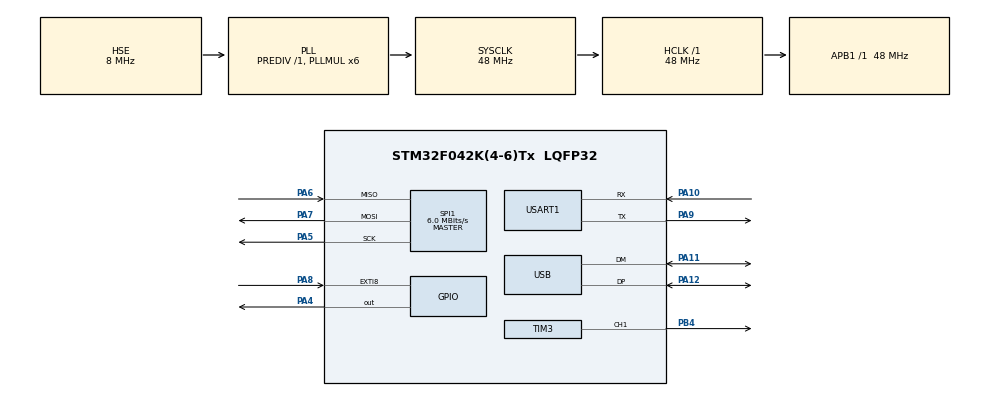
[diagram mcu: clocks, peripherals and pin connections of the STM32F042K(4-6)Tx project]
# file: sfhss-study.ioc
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Dma.Request0=SPI1_TX
Dma.Request1=SPI1_RX
Dma.SPI1_RX.1.Direction=DMA_PERIPH_TO_MEMORY
Dma.SPI1_RX.1.Instance=DMA1_Channel2
Dma.SPI1_RX.1.MemDataAlignment=DMA_MDATAALIGN_BYTE
Dma.SPI1_RX.1.MemInc=DMA_MINC_ENABLE
Dma.SPI1_RX.1.Mode=DMA_NORMAL
Dma.SPI1_RX.1.PeriphDataAlignment=DMA_PDATAALIGN_BYTE
Dma.SPI1_RX.1.PeriphInc=DMA_PINC_DISABLE
Dma.SPI1_RX.1.Priority=DMA_PRIORITY_LOW
Dma.SPI1_TX.0.Direction=DMA_MEMORY_TO_PERIPH
Dma.SPI1_TX.0.Instance=DMA1_Channel3
Dma.SPI1_TX.0.MemDataAlignment=DMA_MDATAALIGN_BYTE
Dma.SPI1_TX.0.MemInc=DMA_MINC_ENABLE
Dma.SPI1_TX.0.Mode=DMA_NORMAL
Dma.SPI1_TX.0.PeriphDataAlignment=DMA_PDATAALIGN_BYTE
Dma.SPI1_TX.0.PeriphInc=DMA_PINC_DISABLE
Dma.SPI1_TX.0.Priority=DMA_PRIORITY_LOW
Mcu.Family=STM32F0
Mcu.Name=STM32F042K(4-6)Tx
Mcu.Package=LQFP32
NVIC.DMA1_Channel2_3_IRQn=true\:0\:0\:false\:false\:true\:true
NVIC.EXTI4_15_IRQn=true\:0\:0\:false\:false\:true\:true
NVIC.USB_IRQn=true\:0\:0\:false\:false\:true\:true
PA10.Mode=Asynchronous
PA10.Signal=USART1_RX
PA11.Mode=Device
PA11.Signal=USB_DM
PA12.Mode=Device
PA12.Signal=USB_DP
PA13.Mode=Serial_Wire
PA13.Signal=SYS_SWDIO
PA14.Mode=Serial_Wire
PA14.Signal=SYS_SWCLK
PA4.PinState=GPIO_PIN_SET
PA4.Signal=GPIO_Output
PA5.Mode=Full_Duplex_Master
PA5.Signal=SPI1_SCK
PA6.GPIO_Mode=GPIO_MODE_AF_PP
PA6.GPIO_PuPd=GPIO_PULLDOWN
PA6.Mode=Full_Duplex_Master
PA6.Signal=SPI1_MISO
PA7.Mode=Full_Duplex_Master
PA7.Signal=SPI1_MOSI
PA8.Signal=GPXTI8
PA9.Mode=Asynchronous
PA9.Signal=USART1_TX
PB4.Signal=S_TIM3_CH1
PF0-OSC_IN.Mode=HSE-External-Oscillator
PF0-OSC_IN.Signal=RCC_OSC_IN
PF1-OSC_OUT.Mode=HSE-External-Oscillator
PF1-OSC_OUT.Signal=RCC_OSC_OUT
ProjectManager.HeapSize=0x200
ProjectManager.StackSize=0x400
ProjectManager.TargetToolchain=Makefile
RCC.AHBFreq_Value=48000000
RCC.APB1Freq_Value=48000000
RCC.APB1TimFreq_Value=48000000
RCC.HCLKFreq_Value=48000000
RCC.HSIState=RCC_HSI_ON
RCC.PLLMUL=RCC_PLL_MUL6
RCC.SYSCLKFreq_VALUE=48000000
RCC.SYSCLKSource=RCC_SYSCLKSOURCE_PLLCLK
RCC.USBClockSelection=RCC_USBCLKSOURCE_PLL
SH.S_TIM3_CH1.0=TIM3_CH1,PWM Generation1 CH1
SPI1.BaudRatePrescaler=SPI_BAUDRATEPRESCALER_8
SPI1.CLKPhase=SPI_PHASE_1EDGE
SPI1.CalculateBaudRate=6.0 MBits/s
SPI1.DataSize=SPI_DATASIZE_8BIT
SPI1.Direction=SPI_DIRECTION_2LINES
SPI1.Mode=SPI_MODE_MASTER
SPI1.NSSPMode=SPI_NSS_PULSE_DISABLE
SPI1.VirtualType=VM_MASTER
TIM2.AutoReloadPreload=TIM_AUTORELOAD_PRELOAD_ENABLE
TIM2.Period=4294967295
TIM2.Prescaler=48
TIM3.AutoReloadPreload=TIM_AUTORELOAD_PRELOAD_ENABLE
TIM3.Channel-PWM\ Generation1\ CH1=TIM_CHANNEL_1
TIM3.Period=4095
TIM3.Prescaler=128
TIM3.Pulse-PWM\ Generation1\ CH1=0
USART1.VirtualMode-Asynchronous=VM_ASYNC
USB_DEVICE.CLASS_NAME_FS=CUSTOMHID
USB_DEVICE.CONFIGURATION_STRING_CUSTOMHID_FS=S-FHSS Joystick
USB_DEVICE.INTERFACE_STRING_CUSTOMHID_FS=S-FHSS Joystick interface
USB_DEVICE.MANUFACTURER_STRING=opiopan@gmail.com
USB_DEVICE.PID_CUSTOMHID_FS=22353
USB_DEVICE.PRODUCT_STRING_CUSTOMHID_FS=S-FHSS HID device
USB_DEVICE.SERIALNUMBER_STRING_CUSTOMHID_FS=00000000001B
USB_DEVICE.USBD_CUSTOMHID_OUTREPORT_BUF_SIZE=9
USB_DEVICE.USBD_CUSTOM_HID_REPORT_DESC_SIZE=41
USB_DEVICE.USBD_SELF_POWERED=0
USB_DEVICE.VirtualMode=CustomHid
USB_DEVICE.VirtualModeFS=Custom_Hid_FS
VP_TIM2_VS_ClockSourceINT.Mode=Internal
VP_TIM3_VS_ClockSourceINT.Mode=Internal
VP_USB_DEVICE_VS_USB_DEVICE_CUSTOM_HID_FS.Mode=CUSTOM_HID_FS
board=sfhss-study

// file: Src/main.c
/* USER CODE BEGIN Header */
/**
  ******************************************************************************
  * @file           : main.c
  * @brief          : Main program body
  ******************************************************************************
  * This notice applies to any and all portions of this file
  * that are not between comment pairs USER CODE BEGIN and
  * USER CODE END. Other portions of this file, whether
  * inserted by the user or by software development tools
  * are owned by their respective copyright owners.
  *
  * Copyright (c) 2019 STMicroelectronics International N.V.
  * All rights reserved.
  *
  * Redistribution and use in source and binary forms, with or without
  * modification, are permitted, provided that the following conditions are met:
  *
  * 1. Redistribution of source code must retain the above copyright notice,
  *    this list of conditions and the following disclaimer.
  * 2. Redistributions in binary form must reproduce the above copyright notice,
  *    this list of conditions and the following disclaimer in the documentation
  *    and/or other materials provided with the distribution.
  * 3. Neither the name of STMicroelectronics nor the names of other
  *    contributors to this software may be used to endorse or promote products
  *    derived from this software without specific written permission.
  * 4. This software, including modifications and/or derivative works of this
  *    software, must execute solely and exclusively on microcontroller or
  *    microprocessor devices manufactured by or for STMicroelectronics.
  * 5. Redistribution and use of this software other than as permitted under
  *    this license is void and will automatically terminate your rights under
  *    this license.
  *
  * THIS SOFTWARE IS PROVIDED BY STMICROELECTRONICS AND CONTRIBUTORS "AS IS"
  * AND ANY EXPRESS, IMPLIED OR STATUTORY WARRANTIES, INCLUDING, BUT NOT
  * LIMITED TO, THE IMPLIED WARRANTIES OF MERCHANTABILITY, FITNESS FOR A
  * PARTICULAR PURPOSE AND NON-INFRINGEMENT OF THIRD PARTY INTELLECTUAL PROPERTY
  * RIGHTS ARE DISCLAIMED TO THE FULLEST EXTENT PERMITTED BY LAW. IN NO EVENT
  * SHALL STMICROELECTRONICS OR CONTRIBUTORS BE LIABLE FOR ANY DIRECT, INDIRECT,
  * INCIDENTAL, SPECIAL, EXEMPLARY, OR CONSEQUENTIAL DAMAGES (INCLUDING, BUT NOT
  * LIMITED TO, PROCUREMENT OF SUBSTITUTE GOODS OR SERVICES; LOSS OF USE, DATA,
  * OR PROFITS; OR BUSINESS INTERRUPTION) HOWEVER CAUSED AND ON ANY THEORY OF
  * LIABILITY, WHETHER IN CONTRACT, STRICT LIABILITY, OR TORT (INCLUDING
  * NEGLIGENCE OR OTHERWISE) ARISING IN ANY WAY OUT OF THE USE OF THIS SOFTWARE,
  * EVEN IF ADVISED OF THE POSSIBILITY OF SUCH DAMAGE.
  *
  ******************************************************************************
  */
/* USER CODE END Header */

#include "main.h"
#include "usb_device.h"

/* USER CODE BEGIN Includes */
#include <SEGGER_RTT.h>
#include <usbd_custom_hid_if.h>
#include <olog.h>
#include "cc2500.h"
#include "sfhss.h"
/* USER CODE END Includes */

SPI_HandleTypeDef hspi1;
DMA_HandleTypeDef hdma_spi1_tx;
DMA_HandleTypeDef hdma_spi1_rx;

TIM_HandleTypeDef htim2;
TIM_HandleTypeDef htim3;

UART_HandleTypeDef huart1;

/* USER CODE BEGIN PV */
/* Private variables ---------------------------------------------------------*/

/* USER CODE END PV */

void SystemClock_Config(void);
static void MX_GPIO_Init(void);
static void MX_DMA_Init(void);
static void MX_SPI1_Init(void);
static void MX_USART1_UART_Init(void);
static void MX_TIM2_Init(void);
static void MX_TIM3_Init(void);
/* USER CODE BEGIN PFP */
/* Private function prototypes -----------------------------------------------*/

/* USER CODE END PFP */

/* USER CODE BEGIN 0 */
CC2500CTX cc2500ctx;
SFHSSCTX sfhss;

volatile char debug_string[10] = "hogehoge";

void HAL_GPIO_EXTI_Callback(uint16_t GPIO_Pin)
{
  if (GPIO_Pin == GPIO_PIN_8){
      SFHSS_SET_RECEIVED(&sfhss);
  }
}

void HAL_SPI_TxRxCpltCallback(SPI_HandleTypeDef *hspi)
{

}

/* USER CODE END 0 */

int main(void)
{
  /* USER CODE BEGIN 1 */
    olog_init();
    olog_printf("\033[0m\n\n----------------------------------------------------\n");
    olog_printf("sfhss-study\n");
    olog_printf("     copyright: opiopan@gmail.com\n");
    olog_printf("     repository: https://github.com/opiopan/sfhss-study\n");
    olog_printf("----------------------------------------------------\n");

  /* USER CODE END 1 */

  /* MCU Configuration--------------------------------------------------------*/

  /* Reset of all peripherals, Initializes the Flash interface and the Systick. */
  HAL_Init();

  /* Configure the system clock */
  SystemClock_Config();

  /* Initialize all configured peripherals */
  MX_GPIO_Init();
  MX_DMA_Init();
  MX_SPI1_Init();
  MX_USB_DEVICE_Init();
  MX_USART1_UART_Init();
  MX_TIM2_Init();
  MX_TIM3_Init();
  /* USER CODE BEGIN 2 */
    HAL_Delay(100);
    HAL_TIM_Base_Start(&htim2);
    HAL_TIM_PWM_Start(&htim3, TIM_CHANNEL_1);
    cc2500_init(&cc2500ctx, GPIOA, GPIO_PIN_4, &hspi1);
    sfhss_init(&sfhss, &cc2500ctx, &htim2);
    sfhss_calibrate(&sfhss);
    HAL_GPIO_WritePin(GPIOB, GPIO_PIN_4, GPIO_PIN_SET);

    OLOG_LOGI("SFHSS: initialization finish");
  /* USER CODE END 2 */

  /* Infinite loop */
  /* USER CODE BEGIN WHILE */
#define CONVDATA(val) ((((uint32_t)(val) - 970) * 255) / 1100)
  struct {
      uint8_t id;
      uint8_t axis[8];
  } report;
  int last = sfhss.phase;
  int bincount = 0;
  int concount = 0;
  while (1){
      sfhss_schedule(&sfhss);

      if (last != sfhss.phase){
        last = sfhss.phase;
        if (last == SFHSS_START_BINDING){
          if (bincount > 0){
            OLOG_LOGW("SFHSS: loast radio or interference while binding");
            __HAL_TIM_SET_COMPARE(&htim3, TIM_CHANNEL_1, 0);
          }
          bincount++;
        }
        if (last == SFHSS_BINDING){
          OLOG_LOGI("SFHSS: binding start");
          __HAL_TIM_SET_COMPARE(&htim3, TIM_CHANNEL_1, 4095);
        }else if (last == SFHSS_CONNECTING1){
          if (concount == 0){
            OLOG_LOGI("SFHSS: binded");
          }else{
            OLOG_LOGW("SFHSS: disconnected");
          }
          concount++;
          __HAL_TIM_SET_COMPARE(&htim3, TIM_CHANNEL_1, 0);
        }else if (last == SFHSS_CONNECTED){
          OLOG_LOGI("SFHSS: connected");
        }
      }
      if (last == SFHSS_CONNECTED && SFHSS_ISDIRTY(&sfhss)){
          int val = sfhss.data[5];
          val -= 1024;
          val *= 4;
          val = MAX(val, 0);
          val = MIN(val, 4095);
          __HAL_TIM_SET_COMPARE(&htim3, TIM_CHANNEL_1, 4095 - val);

          report.id = 1;
          report.axis[0] = CONVDATA(sfhss.data[0]);
          report.axis[1] = CONVDATA(sfhss.data[1]);
          report.axis[2] = CONVDATA(sfhss.data[2]);
          report.axis[3] = CONVDATA(sfhss.data[3]);
          report.axis[4] = CONVDATA(sfhss.data[4]);
          report.axis[5] = CONVDATA(sfhss.data[5]);
          report.axis[6] = CONVDATA(sfhss.data[6]);
          report.axis[7] = CONVDATA(sfhss.data[7]);
          USBD_CUSTOM_HID_SendReport_FS((uint8_t*)&report, sizeof(report));

          SFHSS_RESET_DIRTY(&sfhss);
      }
  }
    /* USER CODE END WHILE */

}

void SystemClock_Config(void)
{
  RCC_OscInitTypeDef RCC_OscInitStruct = {0};
  RCC_ClkInitTypeDef RCC_ClkInitStruct = {0};
  RCC_PeriphCLKInitTypeDef PeriphClkInit = {0};

  /**Initializes the CPU, AHB and APB busses clocks
  */
  RCC_OscInitStruct.OscillatorType = RCC_OSCILLATORTYPE_HSE;
  RCC_OscInitStruct.HSEState = RCC_HSE_ON;
  RCC_OscInitStruct.PLL.PLLState = RCC_PLL_ON;
  RCC_OscInitStruct.PLL.PLLSource = RCC_PLLSOURCE_HSE;
  RCC_OscInitStruct.PLL.PLLMUL = RCC_PLL_MUL6;
  RCC_OscInitStruct.PLL.PREDIV = RCC_PREDIV_DIV1;
  if (HAL_RCC_OscConfig(&RCC_OscInitStruct) != HAL_OK)
  {
    Error_Handler();
  }
  /**Initializes the CPU, AHB and APB busses clocks
  */
  RCC_ClkInitStruct.ClockType = RCC_CLOCKTYPE_HCLK|RCC_CLOCKTYPE_SYSCLK
                              |RCC_CLOCKTYPE_PCLK1;
  RCC_ClkInitStruct.SYSCLKSource = RCC_SYSCLKSOURCE_PLLCLK;
  RCC_ClkInitStruct.AHBCLKDivider = RCC_SYSCLK_DIV1;
  RCC_ClkInitStruct.APB1CLKDivider = RCC_HCLK_DIV1;

  if (HAL_RCC_ClockConfig(&RCC_ClkInitStruct, FLASH_LATENCY_1) != HAL_OK)
  {
    Error_Handler();
  }
  PeriphClkInit.PeriphClockSelection = RCC_PERIPHCLK_USB|RCC_PERIPHCLK_USART1;
  PeriphClkInit.Usart1ClockSelection = RCC_USART1CLKSOURCE_PCLK1;
  PeriphClkInit.UsbClockSelection = RCC_USBCLKSOURCE_PLL;

  if (HAL_RCCEx_PeriphCLKConfig(&PeriphClkInit) != HAL_OK)
  {
    Error_Handler();
  }
}

static void MX_SPI1_Init(void)
{

  /* SPI1 parameter configuration*/
  hspi1.Instance = SPI1;
  hspi1.Init.Mode = SPI_MODE_MASTER;
  hspi1.Init.Direction = SPI_DIRECTION_2LINES;
  hspi1.Init.DataSize = SPI_DATASIZE_8BIT;
  hspi1.Init.CLKPolarity = SPI_POLARITY_LOW;
  hspi1.Init.CLKPhase = SPI_PHASE_1EDGE;
  hspi1.Init.NSS = SPI_NSS_SOFT;
  hspi1.Init.BaudRatePrescaler = SPI_BAUDRATEPRESCALER_8;
  hspi1.Init.FirstBit = SPI_FIRSTBIT_MSB;
  hspi1.Init.TIMode = SPI_TIMODE_DISABLE;
  hspi1.Init.CRCCalculation = SPI_CRCCALCULATION_DISABLE;
  hspi1.Init.CRCPolynomial = 7;
  hspi1.Init.CRCLength = SPI_CRC_LENGTH_DATASIZE;
  hspi1.Init.NSSPMode = SPI_NSS_PULSE_DISABLE;
  if (HAL_SPI_Init(&hspi1) != HAL_OK)
  {
    Error_Handler();
  }

}

static void MX_TIM2_Init(void)
{

  TIM_ClockConfigTypeDef sClockSourceConfig = {0};
  TIM_MasterConfigTypeDef sMasterConfig = {0};

  htim2.Instance = TIM2;
  htim2.Init.Prescaler = 48;
  htim2.Init.CounterMode = TIM_COUNTERMODE_UP;
  htim2.Init.Period = 4294967295;
  htim2.Init.ClockDivision = TIM_CLOCKDIVISION_DIV1;
  htim2.Init.AutoReloadPreload = TIM_AUTORELOAD_PRELOAD_ENABLE;
  if (HAL_TIM_Base_Init(&htim2) != HAL_OK)
  {
    Error_Handler();
  }
  sClockSourceConfig.ClockSource = TIM_CLOCKSOURCE_INTERNAL;
  if (HAL_TIM_ConfigClockSource(&htim2, &sClockSourceConfig) != HAL_OK)
  {
    Error_Handler();
  }
  sMasterConfig.MasterOutputTrigger = TIM_TRGO_RESET;
  sMasterConfig.MasterSlaveMode = TIM_MASTERSLAVEMODE_DISABLE;
  if (HAL_TIMEx_MasterConfigSynchronization(&htim2, &sMasterConfig) != HAL_OK)
  {
    Error_Handler();
  }

}

static void MX_TIM3_Init(void)
{

  TIM_ClockConfigTypeDef sClockSourceConfig = {0};
  TIM_MasterConfigTypeDef sMasterConfig = {0};
  TIM_OC_InitTypeDef sConfigOC = {0};

  htim3.Instance = TIM3;
  htim3.Init.Prescaler = 128;
  htim3.Init.CounterMode = TIM_COUNTERMODE_UP;
  htim3.Init.Period = 4095;
  htim3.Init.ClockDivision = TIM_CLOCKDIVISION_DIV1;
  htim3.Init.AutoReloadPreload = TIM_AUTORELOAD_PRELOAD_ENABLE;
  if (HAL_TIM_Base_Init(&htim3) != HAL_OK)
  {
    Error_Handler();
  }
  sClockSourceConfig.ClockSource = TIM_CLOCKSOURCE_INTERNAL;
  if (HAL_TIM_ConfigClockSource(&htim3, &sClockSourceConfig) != HAL_OK)
  {
    Error_Handler();
  }
  if (HAL_TIM_PWM_Init(&htim3) != HAL_OK)
  {
    Error_Handler();
  }
  sMasterConfig.MasterOutputTrigger = TIM_TRGO_RESET;
  sMasterConfig.MasterSlaveMode = TIM_MASTERSLAVEMODE_DISABLE;
  if (HAL_TIMEx_MasterConfigSynchronization(&htim3, &sMasterConfig) != HAL_OK)
  {
    Error_Handler();
  }
  sConfigOC.OCMode = TIM_OCMODE_PWM1;
  sConfigOC.Pulse = 0;
  sConfigOC.OCPolarity = TIM_OCPOLARITY_HIGH;
  sConfigOC.OCFastMode = TIM_OCFAST_DISABLE;
  if (HAL_TIM_PWM_ConfigChannel(&htim3, &sConfigOC, TIM_CHANNEL_1) != HAL_OK)
  {
    Error_Handler();
  }
  HAL_TIM_MspPostInit(&htim3);

}

static void MX_USART1_UART_Init(void)
{

  huart1.Instance = USART1;
  huart1.Init.BaudRate = 38400;
  huart1.Init.WordLength = UART_WORDLENGTH_8B;
  huart1.Init.StopBits = UART_STOPBITS_1;
  huart1.Init.Parity = UART_PARITY_NONE;
  huart1.Init.Mode = UART_MODE_TX_RX;
  huart1.Init.HwFlowCtl = UART_HWCONTROL_NONE;
  huart1.Init.OverSampling = UART_OVERSAMPLING_16;
  huart1.Init.OneBitSampling = UART_ONE_BIT_SAMPLE_DISABLE;
  huart1.AdvancedInit.AdvFeatureInit = UART_ADVFEATURE_NO_INIT;
  if (HAL_UART_Init(&huart1) != HAL_OK)
  {
    Error_Handler();
  }

}

static void MX_DMA_Init(void)
{
  /* DMA controller clock enable */
  __HAL_RCC_DMA1_CLK_ENABLE();

  /* DMA interrupt init */
  /* DMA1_Channel2_3_IRQn interrupt configuration */
  HAL_NVIC_SetPriority(DMA1_Channel2_3_IRQn, 0, 0);
  HAL_NVIC_EnableIRQ(DMA1_Channel2_3_IRQn);

}

static void MX_GPIO_Init(void)
{
  GPIO_InitTypeDef GPIO_InitStruct = {0};

  /* GPIO Ports Clock Enable */
  __HAL_RCC_GPIOF_CLK_ENABLE();
  __HAL_RCC_GPIOA_CLK_ENABLE();
  __HAL_RCC_GPIOB_CLK_ENABLE();

  /*Configure GPIO pin Output Level */
  HAL_GPIO_WritePin(GPIOA, GPIO_PIN_4, GPIO_PIN_SET);

  /*Configure GPIO pin : PA4 */
  GPIO_InitStruct.Pin = GPIO_PIN_4;
  GPIO_InitStruct.Mode = GPIO_MODE_OUTPUT_PP;
  GPIO_InitStruct.Pull = GPIO_NOPULL;
  GPIO_InitStruct.Speed = GPIO_SPEED_FREQ_LOW;
  HAL_GPIO_Init(GPIOA, &GPIO_InitStruct);

  /*Configure GPIO pin : PA8 */
  GPIO_InitStruct.Pin = GPIO_PIN_8;
  GPIO_InitStruct.Mode = GPIO_MODE_IT_RISING;
  GPIO_InitStruct.Pull = GPIO_NOPULL;
  HAL_GPIO_Init(GPIOA, &GPIO_InitStruct);

  /* EXTI interrupt init*/
  HAL_NVIC_SetPriority(EXTI4_15_IRQn, 0, 0);
  HAL_NVIC_EnableIRQ(EXTI4_15_IRQn);

}

void Error_Handler(void)
{
}

/************************ (C) COPYRIGHT STMicroelectronics *****END OF FILE****/
